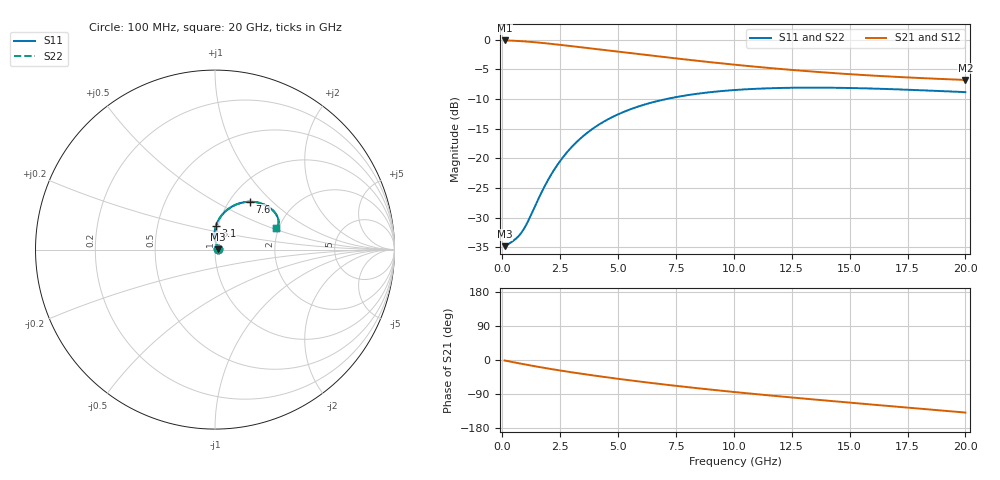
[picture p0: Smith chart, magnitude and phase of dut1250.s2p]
! Touchstone file exported from HFSS 2024.1.0
!  File:  C:/UserFiles/LocalFiles/RDL_TSV_Batchsim/temp_RDL_TSV_1250_1780269420.aedt
!  Generated:  07:35:17 AM Jun  1, 2026
!  Design:  RDL_TSV
!  Project:  temp_RDL_TSV_1250_1780269420
!  Setup:  Setup1
!  Solution:  Sweep
! Variables:
!  dtsv = 8.04um
!  hbump = 3um
!  htsv = 62.83um
!  ldown = 165.05um
!  lrdl = 339.28um
!  p = 40
!  p1 = 49.52um
!  rhole = 10um
!  subl = 1852.27um
!  t = 450um
!  tdown = 2.55um
!  trdl = 2.09um
!  viad = 10um
!  wdown = 29.5um
!  wrdl = 15.42um
!  xbump = 18um
# GHz S MA R 50.000000
! Terminal data exported
! Port[1] = TM1_1_T1
! Port[2] = TM1_4_T1
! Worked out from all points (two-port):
!   200 points, 100 MHz to 20 GHz, reference 50 ohm
!   highest |S21| = -0.16 dB at 100 MHz (marker M1); lowest = -6.8 dB at 20 GHz (marker M2)
!   |S21| within 3 dB of the highest: start of sweep to 7.448 GHz
!   lowest |S11| = -34.8 dB at 100 MHz (marker M3), VSWR 1.04, Z = 51.8 + j0.247 ohm
!   |S11| at or under -10 dB: start of sweep to 7.123 GHz
!   |S22| runs from -34.8 to -8.1 dB; largest |S21 - S12| = 1e-14
!   S11 on the Smith chart (normalised r, x): 100 MHz: 1.04, +0.00; 3.1 GHz: 0.97, +0.26; 7.6 GHz: 1.24, +0.74; 20 GHz: 1.93, +0.54
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0.1  0.01813 7.5  0.9817 -1.2  0.9817 -1.2  0.01813 7.5
! Gamma 0 0 0 0
! Port Impedance 50 0 50 0
0.6  0.02105 40.2  0.974 -7.3  0.974 -7.3  0.02105 40.2
0.8  0.02318 53.0  0.969 -9.6  0.969 -9.6  0.02318 53.0
0.9  0.02473 59.2  0.9661 -10.8  0.9661 -10.8  0.02473 59.2
1.1  0.0291 70.4  0.9597 -13.1  0.9597 -13.1  0.02909 70.4
1.7  0.05173 88.7  0.9368 -19.6  0.9368 -19.6  0.05171 88.7
2.1  0.07219 91.7  0.9195 -23.8  0.9195 -23.8  0.07217 91.7
2.6  0.1007 91.0  0.8969 -28.7  0.8969 -28.7  0.1006 91.0
3.1  0.1303 88.1  0.874 -33.4  0.874 -33.4  0.1303 88.1
3.5  0.1539 85.1  0.8559 -37.0  0.8559 -37.0  0.1538 85.1
4.2  0.1933 79.2  0.8247 -43.1  0.8247 -43.1  0.1932 79.3
4.9  0.2293 73.4  0.7946 -48.8  0.7946 -48.8  0.2292 73.4
5.8  0.2695 66.3  0.7575 -55.9  0.7575 -55.9  0.2695 66.3
6.8  0.3061 59.2  0.7187 -63.3  0.7187 -63.3  0.3061 59.2
7.6  0.3297 54.0  0.6896 -68.9  0.6896 -68.9  0.3297 54.0
8.8  0.3566 47.2  0.6497 -76.9  0.6497 -76.9  0.3566 47.2
10.1  0.376 40.9  0.6115 -85.0  0.6115 -85.0  0.376 40.9
11.7  0.3891 34.5  0.5715 -94.4  0.5715 -94.4  0.3891 34.6
13.4  0.3931 29.2  0.5368 -103.9  0.5368 -103.9  0.3932 29.2
15  0.3902 25.3  0.5104 -112.5  0.5104 -112.5  0.3903 25.3
16.7  0.3823 22.3  0.4879 -121.4  0.4879 -121.4  0.3824 22.3
20  0.3602 19.8  0.4564 -138.7  0.4564 -138.7  0.3603 19.8
